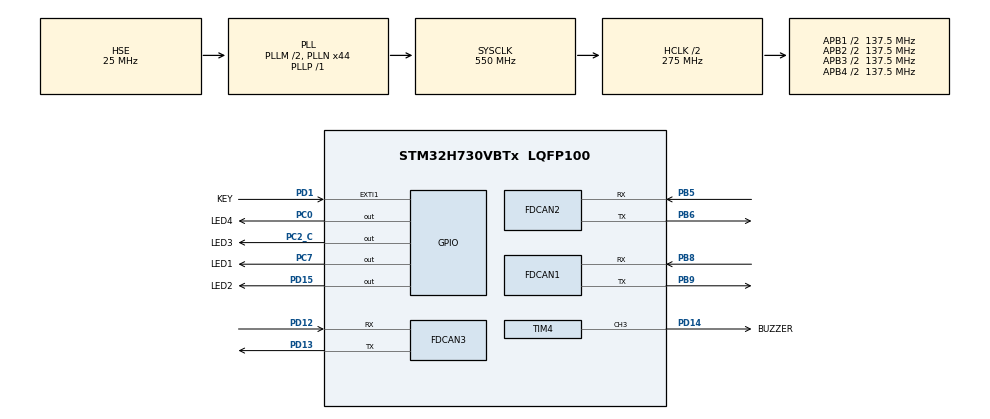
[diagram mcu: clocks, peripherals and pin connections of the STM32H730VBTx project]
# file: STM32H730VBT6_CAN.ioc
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CORTEX_M7.default_mode_Activation=1
FDCAN1.AutoRetransmission=ENABLE
FDCAN1.CalculateBaudRateNominal=1000000
FDCAN1.CalculateTimeBitNominal=1000
FDCAN1.CalculateTimeQuantumNominal=200.0
FDCAN1.NominalPrescaler=5
FDCAN1.NominalTimeSeg1=2
FDCAN1.NominalTimeSeg2=2
FDCAN2.AutoRetransmission=ENABLE
FDCAN2.CalculateBaudRateNominal=1000000
FDCAN2.CalculateTimeBitNominal=1000
FDCAN2.CalculateTimeQuantumNominal=200.0
FDCAN2.NominalPrescaler=5
FDCAN3.AutoRetransmission=ENABLE
FDCAN3.CalculateBaudRateNominal=1000000
FDCAN3.CalculateTimeBitNominal=1000
FDCAN3.CalculateTimeQuantumNominal=200.0
FDCAN3.NominalPrescaler=5
Mcu.Family=STM32H7
Mcu.Name=STM32H730VBTx
Mcu.Package=LQFP100
NVIC.EXTI1_IRQn=true\:0\:0\:false\:false\:true\:true\:true\:true
NVIC.FDCAN1_IT0_IRQn=true\:0\:0\:false\:false\:true\:true\:true\:true
NVIC.FDCAN1_IT1_IRQn=true\:0\:0\:false\:false\:true\:true\:true\:true
NVIC.FDCAN2_IT0_IRQn=true\:0\:0\:false\:false\:true\:true\:true\:true
NVIC.FDCAN2_IT1_IRQn=true\:0\:0\:false\:false\:true\:true\:true\:true
NVIC.FDCAN3_IT0_IRQn=true\:0\:0\:false\:false\:true\:true\:true\:true
NVIC.FDCAN3_IT1_IRQn=true\:0\:0\:false\:false\:true\:true\:true\:true
NVIC.PriorityGroup=NVIC_PRIORITYGROUP_4
PA13(JTMS/SWDIO).Mode=Serial_Wire
PA13(JTMS/SWDIO).Signal=DEBUG_JTMS-SWDIO
PA14(JTCK/SWCLK).Mode=Serial_Wire
PA14(JTCK/SWCLK).Signal=DEBUG_JTCK-SWCLK
PB5.Mode=FDCAN_Activate
PB5.Signal=FDCAN2_RX
PB6.Mode=FDCAN_Activate
PB6.Signal=FDCAN2_TX
PB8.Mode=FDCAN_Activate
PB8.Signal=FDCAN1_RX
PB9.Mode=FDCAN_Activate
PB9.Signal=FDCAN1_TX
PC0.GPIO_Label=LED4
PC0.Signal=GPIO_Output
PC14-OSC32_IN.Mode=LSE-External-Oscillator
PC14-OSC32_IN.Signal=RCC_OSC32_IN
PC15-OSC32_OUT.Mode=LSE-External-Oscillator
PC15-OSC32_OUT.Signal=RCC_OSC32_OUT
PC2_C.GPIO_Label=LED3
PC2_C.Signal=GPIO_Output
PC7.GPIO_Label=LED1
PC7.Signal=GPIO_Output
PD1.GPIO_Label=KEY
PD1.GPIO_ModeDefaultEXTI=GPIO_MODE_IT_FALLING
PD1.Signal=GPXTI1
PD12.Mode=FDCAN_Activate
PD12.Signal=FDCAN3_RX
PD13.Mode=FDCAN_Activate
PD13.Signal=FDCAN3_TX
PD14.GPIO_Label=BUZZER
PD14.Signal=S_TIM4_CH3
PD15.GPIO_Label=LED2
PD15.Signal=GPIO_Output
PH0-OSC_IN.Mode=HSE-External-Oscillator
PH0-OSC_IN.Signal=RCC_OSC_IN
PH1-OSC_OUT.Mode=HSE-External-Oscillator
PH1-OSC_OUT.Signal=RCC_OSC_OUT
ProjectManager.HeapSize=0x200
ProjectManager.StackSize=0x400
ProjectManager.TargetToolchain=STM32CubeIDE
RCC.ADCFreq_Value=50390625
RCC.APB1Freq_Value=137500000
RCC.APB2Freq_Value=137500000
RCC.APB3Freq_Value=137500000
RCC.APB4Freq_Value=137500000
RCC.CortexFreq_Value=550000000
RCC.D1PPRE=RCC_APB3_DIV2
RCC.D2PPRE1=RCC_APB1_DIV2
RCC.D2PPRE2=RCC_APB2_DIV2
RCC.D3PPRE=RCC_APB4_DIV2
RCC.DIVM1=2
RCC.DIVN1=44
RCC.DIVP1=1
RCC.DIVQ1=4
RCC.FDCANCLockSelection=RCC_FDCANCLKSOURCE_HSE
RCC.HCLKFreq_Value=275000000
RCC.HPRE=RCC_HCLK_DIV2
RCC.PLL2FRACN=0
RCC.PLL3FRACN=0
RCC.PLLFRACN=0
RCC.PLLSourceVirtual=RCC_PLLSOURCE_HSE
RCC.SYSCLKFreq_VALUE=550000000
RCC.SYSCLKSource=RCC_SYSCLKSOURCE_PLLCLK
RCC.USBFreq_Value=137500000
SH.S_TIM4_CH3.0=TIM4_CH3,PWM Generation3 CH3
TIM4.AutoReloadPreload=TIM_AUTORELOAD_PRELOAD_ENABLE
TIM4.Channel-PWM\ Generation3\ CH3=TIM_CHANNEL_3
TIM4.OCFastMode_PWM-PWM\ Generation3\ CH3=TIM_OCFAST_ENABLE
TIM4.Period=10999
TIM4.Prescaler=49
board=custom

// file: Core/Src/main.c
/* USER CODE BEGIN Header */
/**
 ******************************************************************************
 * @file           : main.c
 * @brief          : Main program body
 ******************************************************************************
 * @attention
 *
 * Copyright (c) 2024 STMicroelectronics.
 * All rights reserved.
 *
 * This software is licensed under terms that can be found in the LICENSE file
 * in the root directory of this software component.
 * If no LICENSE file comes with this software, it is provided AS-IS.
 *
 ******************************************************************************
 */
/* USER CODE END Header */
#include "main.h"
#include "fdcan.h"
#include "tim.h"
#include "gpio.h"

/* USER CODE BEGIN Includes */
#include "BUZZER.h"
#include "bsp_can.h"
/* USER CODE END Includes */

/* USER CODE BEGIN PV */
uint8_t can_test_data[8] = {0x01, 0x02, 0x03, 0x04, 0x05, 0x06, 0x07, 0x08};
/* USER CODE END PV */

void SystemClock_Config(void);
static void MPU_Config(void);

int main(void)
{

    /* MPU Configuration--------------------------------------------------------*/
    MPU_Config();

    /* MCU Configuration--------------------------------------------------------*/

    /* Reset of all peripherals, Initializes the Flash interface and the Systick. */
    HAL_Init();

    /* Configure the system clock */
    SystemClock_Config();

    /* Initialize all configured peripherals */
    MX_GPIO_Init();
    MX_TIM4_Init();
    MX_FDCAN1_Init();
    MX_FDCAN2_Init();
    MX_FDCAN3_Init();
    /* USER CODE BEGIN 2 */
    BSP_FDCAN_Init();
    HAL_TIM_Base_Start_IT(&htim4);

    BUZZER_0N(400);
    HAL_Delay(100);
    BUZZER_Stop();
    HAL_Delay(100);
    BUZZER_0N(500);
    HAL_Delay(100);
    BUZZER_Stop();
    BUZZER_0N(700);
    HAL_Delay(114);
    BUZZER_Stop();
    /* USER CODE END 2 */

    /* Infinite loop */
    /* USER CODE BEGIN WHILE */
    while (1) {
        if (HAL_GPIO_ReadPin(KEY_GPIO_Port, KEY_Pin)) {
            BUZZER_Stop();
            BSP_FDCAN_Transmit(&hfdcan1, can_test_data);
            BSP_FDCAN_Transmit(&hfdcan2, can_test_data);
            BSP_FDCAN_Transmit(&hfdcan3, can_test_data);
        } else {
            BUZZER_0N(114);

        }

        /* USER CODE END WHILE */

    }
}

void SystemClock_Config(void)
{
    RCC_OscInitTypeDef RCC_OscInitStruct = {0};
    RCC_ClkInitTypeDef RCC_ClkInitStruct = {0};

    /** Supply configuration update enable
     */
    HAL_PWREx_ConfigSupply(PWR_LDO_SUPPLY);

    /** Configure the main internal regulator output voltage
     */
    __HAL_PWR_VOLTAGESCALING_CONFIG(PWR_REGULATOR_VOLTAGE_SCALE0);

    while (!__HAL_PWR_GET_FLAG(PWR_FLAG_VOSRDY)) {}

    /** Initializes the RCC Oscillators according to the specified parameters
     * in the RCC_OscInitTypeDef structure.
     */
    RCC_OscInitStruct.OscillatorType = RCC_OSCILLATORTYPE_HSE;
    RCC_OscInitStruct.HSEState       = RCC_HSE_ON;
    RCC_OscInitStruct.PLL.PLLState   = RCC_PLL_ON;
    RCC_OscInitStruct.PLL.PLLSource  = RCC_PLLSOURCE_HSE;
    RCC_OscInitStruct.PLL.PLLM       = 2;
    RCC_OscInitStruct.PLL.PLLN       = 44;
    RCC_OscInitStruct.PLL.PLLP       = 1;
    RCC_OscInitStruct.PLL.PLLQ       = 4;
    RCC_OscInitStruct.PLL.PLLR       = 2;
    RCC_OscInitStruct.PLL.PLLRGE     = RCC_PLL1VCIRANGE_3;
    RCC_OscInitStruct.PLL.PLLVCOSEL  = RCC_PLL1VCOWIDE;
    RCC_OscInitStruct.PLL.PLLFRACN   = 0;
    if (HAL_RCC_OscConfig(&RCC_OscInitStruct) != HAL_OK) {
        Error_Handler();
    }

    /** Initializes the CPU, AHB and APB buses clocks
     */
    RCC_ClkInitStruct.ClockType      = RCC_CLOCKTYPE_HCLK | RCC_CLOCKTYPE_SYSCLK | RCC_CLOCKTYPE_PCLK1 | RCC_CLOCKTYPE_PCLK2 | RCC_CLOCKTYPE_D3PCLK1 | RCC_CLOCKTYPE_D1PCLK1;
    RCC_ClkInitStruct.SYSCLKSource   = RCC_SYSCLKSOURCE_PLLCLK;
    RCC_ClkInitStruct.SYSCLKDivider  = RCC_SYSCLK_DIV1;
    RCC_ClkInitStruct.AHBCLKDivider  = RCC_HCLK_DIV2;
    RCC_ClkInitStruct.APB3CLKDivider = RCC_APB3_DIV2;
    RCC_ClkInitStruct.APB1CLKDivider = RCC_APB1_DIV2;
    RCC_ClkInitStruct.APB2CLKDivider = RCC_APB2_DIV2;
    RCC_ClkInitStruct.APB4CLKDivider = RCC_APB4_DIV2;

    if (HAL_RCC_ClockConfig(&RCC_ClkInitStruct, FLASH_LATENCY_3) != HAL_OK) {
        Error_Handler();
    }
}

/* MPU Configuration */

void MPU_Config(void)
{
    MPU_Region_InitTypeDef MPU_InitStruct = {0};

    /* Disables the MPU */
    HAL_MPU_Disable();

    /** Initializes and configures the Region and the memory to be protected
     */
    MPU_InitStruct.Enable           = MPU_REGION_ENABLE;
    MPU_InitStruct.Number           = MPU_REGION_NUMBER0;
    MPU_InitStruct.BaseAddress      = 0x0;
    MPU_InitStruct.Size             = MPU_REGION_SIZE_4GB;
    MPU_InitStruct.SubRegionDisable = 0x87;
    MPU_InitStruct.TypeExtField     = MPU_TEX_LEVEL0;
    MPU_InitStruct.AccessPermission = MPU_REGION_NO_ACCESS;
    MPU_InitStruct.DisableExec      = MPU_INSTRUCTION_ACCESS_DISABLE;
    MPU_InitStruct.IsShareable      = MPU_ACCESS_SHAREABLE;
    MPU_InitStruct.IsCacheable      = MPU_ACCESS_NOT_CACHEABLE;
    MPU_InitStruct.IsBufferable     = MPU_ACCESS_NOT_BUFFERABLE;

    HAL_MPU_ConfigRegion(&MPU_InitStruct);
    /* Enables the MPU */
    HAL_MPU_Enable(MPU_PRIVILEGED_DEFAULT);
}

void Error_Handler(void)
{
    __disable_irq();
    while (1) {
    }
}
